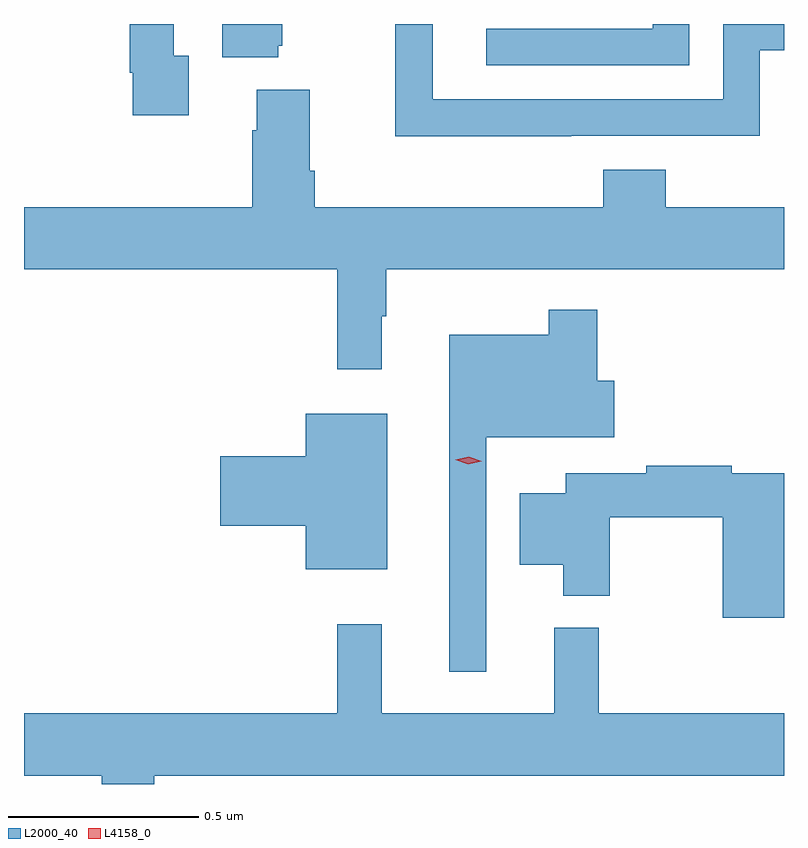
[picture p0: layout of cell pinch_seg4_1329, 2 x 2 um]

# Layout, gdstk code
import gdstk
lib = gdstk.Library(unit=1e-6, precision=1e-09)
def P(c, l, *ps):  # polygons
    for p in ps: c.add(gdstk.Polygon(p, *l))
L2000_40 = (2000, 40)
L4158_0 = (4158, 0)

pinch_seg4_1329 = lib.new_cell('pinch_seg4_1329')
P(pinch_seg4_1329, L2000_40, [(337.217,778.524),(337.713,778.524),(337.713,778.749),(337.777,778.749),(337.777,778.818),(337.617,778.818),(337.617,778.62),(336.853,778.62),(336.853,778.818),(336.754,778.818),(336.754,778.523),(337.217,778.523)],
  [(336.211,778.734),(336.171,778.734),(336.171,778.818),(336.055,778.818),(336.055,778.69),(336.063,778.69),(336.063,778.578),(336.211,778.578)],
  [(337.527,778.818),(337.431,778.818),(337.431,778.806),(336.993,778.806),(336.993,778.71),(337.527,778.71)],
  [(336.446,778.761),(336.457,778.761),(336.457,778.818),(336.299,778.818),(336.299,778.73),(336.446,778.73)],
  [(336.718,778.049),(336.73,778.049),(336.73,778.172),(337.777,778.172),(337.777,778.336),(337.466,778.336),(337.466,778.435),(337.301,778.435),(337.301,778.336),(336.542,778.336),(336.542,778.432),(336.529,778.432),(336.529,778.645),(336.389,778.645),(336.389,778.538),(336.377,778.538),(336.377,778.336),(335.777,778.336),(335.777,778.172),(336.601,778.172),(336.601,777.909),(336.718,777.909)],
  [(336.993,777.731),(337.33,777.731),(337.33,777.879),(337.286,777.879),(337.286,778.066),(337.158,778.066),(337.158,778),(336.896,778),(336.896,777.114),(336.993,777.114)],
  [(336.733,777.793),(336.518,777.793),(336.518,777.68),(336.294,777.68),(336.294,777.497),(336.518,777.497),(336.518,777.383),(336.733,777.383)],
  [(337.777,777.636),(337.64,777.636),(337.64,777.656),(337.414,777.656),(337.414,777.636),(337.202,777.636),(337.202,777.583),(337.082,777.583),(337.082,777.395),(337.196,777.395),(337.196,777.314),(337.318,777.314),(337.318,777.52),(337.616,777.52),(337.616,777.255),(337.777,777.255)],
  [(336.12,776.84),(337.777,776.84),(337.777,777.004),(337.289,777.004),(337.289,777.229),(337.172,777.229),(337.172,777.004),(336.719,777.004),(336.719,777.238),(336.601,777.238),(336.601,777.004),(335.777,777.004),(335.777,776.84),(335.981,776.84),(335.981,776.818),(336.12,776.818)])
P(pinch_seg4_1329, L4158_0, [(336.946,777.659),(336.912,777.671),(336.912,777.671),(336.912,777.671),(336.948,777.679),(336.982,777.667),(336.982,777.667),(336.982,777.667)])

lib.write_gds('pinch_seg4_1329.gds')
